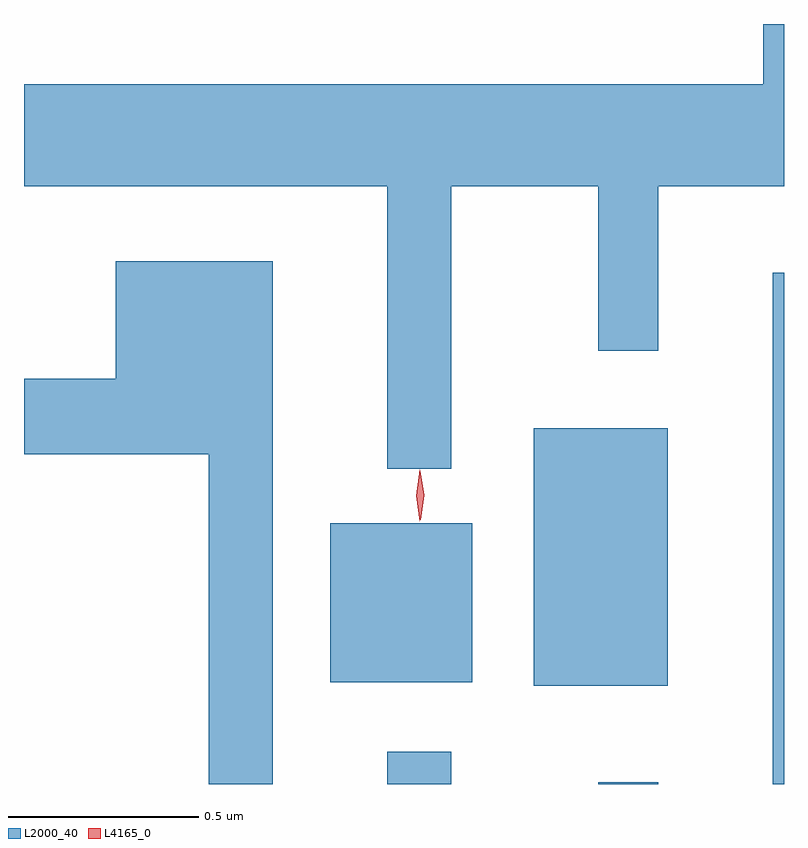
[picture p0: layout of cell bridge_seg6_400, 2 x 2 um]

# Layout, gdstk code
import gdstk
lib = gdstk.Library(unit=1e-6, precision=1e-09)
def R(c, l, rs):  # rectangles x0, y0, x1, y1
    for r in rs: c.add(gdstk.rectangle(r[:2], r[2:], *l))
def P(c, l, *ps):  # polygons
    for p in ps: c.add(gdstk.Polygon(p, *l))
L2000_40 = (2000, 40)
L4165_0 = (4165, 0)

bridge_seg6_400 = lib.new_cell('bridge_seg6_400')
R(bridge_seg6_400, L2000_40, [(1007.811,1623.943,1007.979,1624.028), (1008.366,1623.943,1008.524,1623.948), (1008.826,1623.943,1008.855,1625.289), (1008.196,1624.201,1008.549,1624.879), (1007.661,1624.211,1008.034,1624.629)])
P(bridge_seg6_400, L2000_40, [(1007.979,1625.516),(1008.366,1625.516),(1008.366,1625.083),(1008.524,1625.083),(1008.524,1625.516),(1008.855,1625.516),(1008.855,1625.943),(1008.801,1625.943),(1008.801,1625.784),(1006.855,1625.784),(1006.855,1625.516),(1007.811,1625.516),(1007.811,1624.773),(1007.979,1624.773)],
  [(1007.509,1625.319),(1007.096,1625.319),(1007.096,1625.009),(1006.855,1625.009),(1006.855,1624.811),(1007.341,1624.811),(1007.341,1623.943),(1007.509,1623.943)])
P(bridge_seg6_400, L4165_0, [(1007.896,1624.634),(1007.887,1624.702),(1007.896,1624.77),(1007.897,1624.77),(1007.897,1624.77),(1007.907,1624.702),(1007.897,1624.634),(1007.897,1624.634)],
  [(1007.898,1624.638),(1007.898,1624.639),(1007.888,1624.703),(1007.897,1624.767),(1007.898,1624.767),(1007.898,1624.767),(1007.908,1624.703),(1007.899,1624.639)])

lib.write_gds('bridge_seg6_400.gds')
